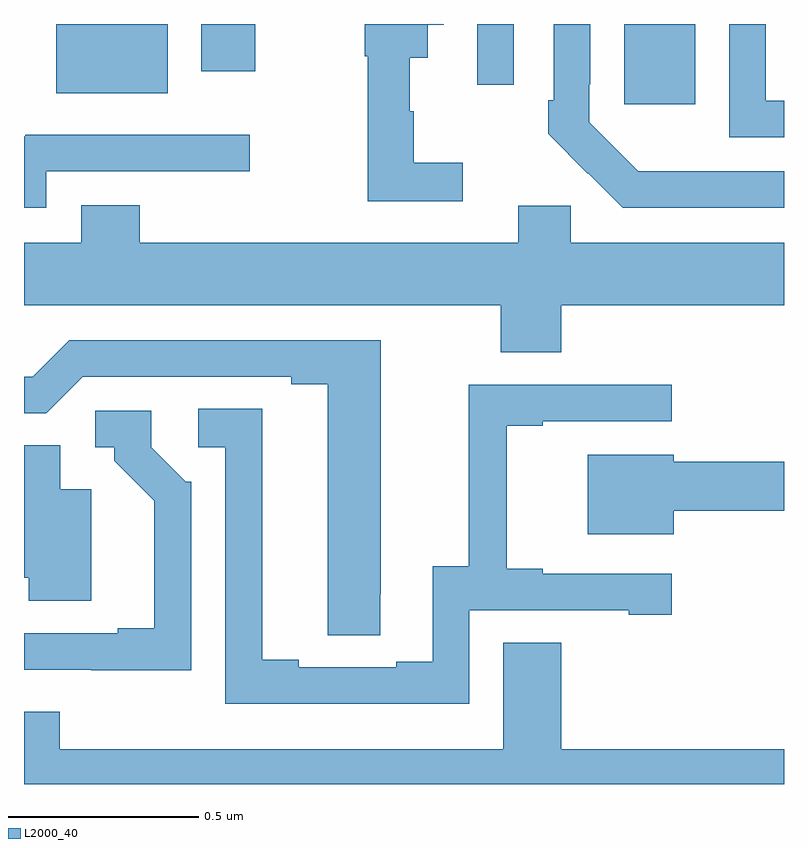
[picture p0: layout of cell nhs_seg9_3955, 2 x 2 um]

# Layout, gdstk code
import gdstk
lib = gdstk.Library(unit=1e-6, precision=1e-09)
def R(c, l, rs):  # rectangles x0, y0, x1, y1
    for r in rs: c.add(gdstk.rectangle(r[:2], r[2:], *l))
def P(c, l, *ps):  # polygons
    for p in ps: c.add(gdstk.Polygon(p, *l))
L2000_40 = (2000, 40)

nhs_seg9_3955 = lib.new_cell('nhs_seg9_3955')
R(nhs_seg9_3955, L2000_40, [(161.579,1190.289,161.767,1190.5), (160.085,1190.318,160.378,1190.5), (161.193,1190.34,161.289,1190.5), (160.466,1190.376,160.608,1190.5)])
P(nhs_seg9_3955, L2000_40, [(161.155,1190.135),(161.026,1190.135),(161.026,1190.271),(161.015,1190.271),(161.015,1190.411),(161.062,1190.411),(161.062,1190.498),(161.104,1190.498),(161.104,1190.5),(160.897,1190.5),(160.897,1190.415),(160.905,1190.415),(160.905,1190.034),(161.155,1190.034)],
  [(162,1190.112),(161.719,1190.112),(161.719,1190.113),(161.616,1190.113),(161.487,1190.241),(161.487,1190.341),(161.49,1190.341),(161.49,1190.5),(161.394,1190.5),(161.394,1190.299),(161.379,1190.299),(161.379,1190.211),(161.484,1190.106),(161.485,1190.107),(161.576,1190.016),(162,1190.016)],
  [(162,1190.298),(161.952,1190.298),(161.952,1190.5),(161.856,1190.5),(161.856,1190.202),(162,1190.202)],
  [(160.059,1190.112),(160.594,1190.112),(160.594,1190.208),(160.005,1190.208),(160,1190.203),(160,1190.016),(160.059,1190.016)],
  [(161.414,1189.76),(162,1189.76),(162,1189.924),(161.439,1189.924),(161.439,1190.022),(161.3,1190.022),(161.3,1189.924),(160.304,1189.924),(160.304,1190.023),(160.151,1190.023),(160.151,1189.924),(160,1189.924),(160,1189.76),(161.254,1189.76),(161.254,1189.636),(161.414,1189.636)],
  [(160.938,1189),(160.939,1189),(160.939,1189.668),(160.119,1189.668),(160.023,1189.572),(160,1189.572),(160,1189.476),(160.059,1189.476),(160.155,1189.572),(160.703,1189.572),(160.703,1189.552),(160.799,1189.552),(160.799,1188.892),(160.938,1188.892)],
  [(161.172,1188.957),(161.591,1188.957),(161.591,1188.945),(161.704,1188.945),(161.704,1189.053),(161.365,1189.053),(161.365,1189.066),(161.27,1189.066),(161.27,1189.443),(161.365,1189.443),(161.365,1189.455),(161.704,1189.455),(161.704,1189.551),(161.17,1189.551),(161.17,1189.073),(161.075,1189.073),(161.075,1188.822),(160.979,1188.822),(160.979,1188.807),(160.723,1188.807),(160.723,1188.827),(160.627,1188.827),(160.627,1189.487),(160.458,1189.487),(160.458,1189.386),(160.53,1189.386),(160.53,1188.711),(161.172,1188.711)],
  [(160.44,1189.296),(160.425,1189.296),(160.335,1189.386),(160.335,1189.482),(160.188,1189.482),(160.188,1189.386),(160.238,1189.386),(160.238,1189.351),(160.343,1189.246),(160.343,1188.91),(160.247,1188.91),(160.247,1188.897),(160,1188.897),(160,1188.801),(160.177,1188.801),(160.177,1188.8),(160.44,1188.8)],
  [(160.177,1189.276),(160.096,1189.276),(160.096,1189.391),(160,1189.391),(160,1189.043),(160.013,1189.043),(160.013,1188.982),(160.177,1188.982)],
  [(161.71,1189.219),(162,1189.219),(162,1189.348),(161.71,1189.348),(161.71,1189.366),(161.483,1189.366),(161.483,1189.157),(161.71,1189.157)],
  [(162,1188.592),(161.414,1188.592),(161.414,1188.872),(161.261,1188.872),(161.261,1188.592),(160.094,1188.592),(160.094,1188.69),(160,1188.69),(160,1188.5),(162,1188.5)])

lib.write_gds('nhs_seg9_3955.gds')
